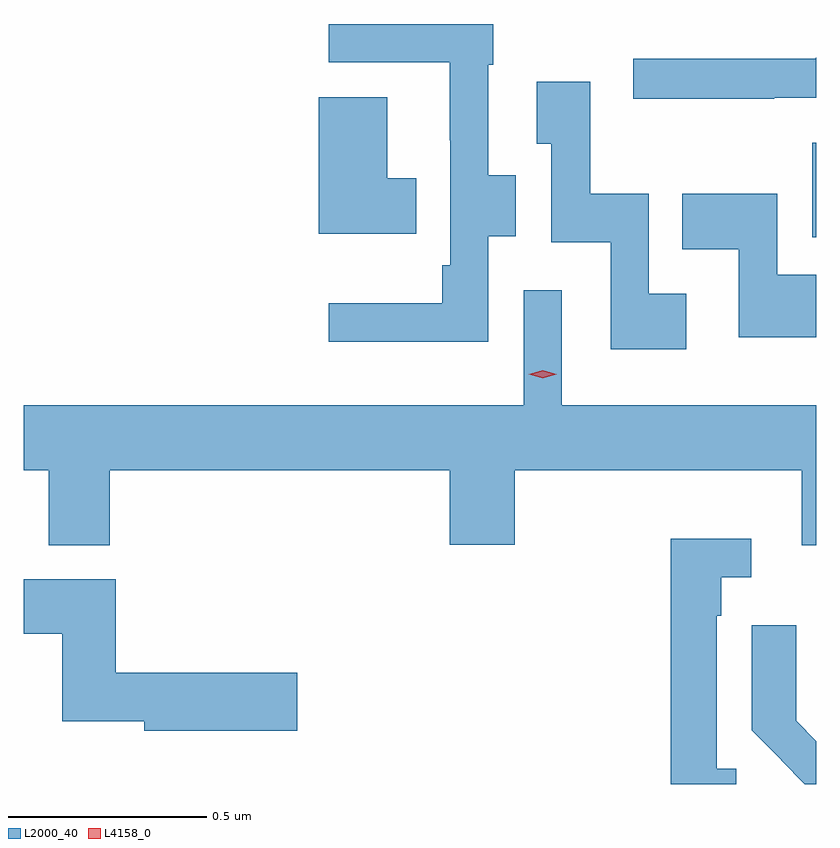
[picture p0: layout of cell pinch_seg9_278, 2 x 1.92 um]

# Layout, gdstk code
import gdstk
lib = gdstk.Library(unit=1e-6, precision=1e-09)
def R(c, l, rs):  # rectangles x0, y0, x1, y1
    for r in rs: c.add(gdstk.rectangle(r[:2], r[2:], *l))
def P(c, l, *ps):  # polygons
    for p in ps: c.add(gdstk.Polygon(p, *l))
L2000_40 = (2000, 40)
L4158_0 = (4158, 0)

pinch_seg9_278 = lib.new_cell('pinch_seg9_278')
R(pinch_seg9_278, L2000_40, [(501.587,1201.004,501.597,1201.243)])
P(pinch_seg9_278, L2000_40, [(500.769,1201.006),(500.839,1201.006),(500.839,1201.161),(500.769,1201.161),(500.769,1201.439),(500.782,1201.439),(500.782,1201.542),(500.367,1201.542),(500.367,1201.446),(500.672,1201.446),(500.672,1201.249),(500.673,1201.249),(500.673,1200.934),(500.653,1200.934),(500.653,1200.838),(500.367,1200.838),(500.367,1200.74),(500.769,1200.74)],
  [(501.491,1201.356),(501.597,1201.356),(501.597,1201.457),(501.595,1201.457),(501.595,1201.454),(501.135,1201.454),(501.135,1201.354),(501.491,1201.354)],
  [(501.268,1200.862),(501.174,1200.862),(501.174,1201.114),(501.027,1201.114),(501.027,1201.396),(500.891,1201.396),(500.891,1201.24),(500.928,1201.24),(500.928,1200.992),(501.078,1200.992),(501.078,1200.722),(501.268,1200.722)],
  [(500.588,1201.153),(500.515,1201.153),(500.515,1201.357),(500.342,1201.357),(500.342,1201.013),(500.588,1201.013)],
  [(501.596,1200.91),(501.498,1200.91),(501.498,1201.114),(501.259,1201.114),(501.259,1200.974),(501.401,1200.974),(501.401,1200.752),(501.596,1200.752)],
  [(499.814,1200.416),(500.672,1200.416),(500.672,1200.228),(500.836,1200.228),(500.836,1200.416),(501.56,1200.416),(501.56,1200.227),(501.597,1200.227),(501.597,1200.58),(500.955,1200.58),(500.955,1200.871),(500.859,1200.871),(500.859,1200.58),(499.597,1200.58),(499.597,1200.416),(499.661,1200.416),(499.661,1200.227),(499.814,1200.227)],
  [(501.395,1199.664),(501.345,1199.664),(501.345,1200.05),(501.357,1200.05),(501.357,1200.147),(501.433,1200.147),(501.433,1200.244),(501.229,1200.244),(501.229,1199.625),(501.395,1199.625)],
  [(500.287,1199.906),(499.829,1199.906),(499.829,1200.142),(499.597,1200.142),(499.597,1200.004),(499.694,1200.004),(499.694,1199.783),(499.902,1199.783),(499.902,1199.759),(500.287,1199.759)],
  [(501.597,1199.733),(501.546,1199.784),(501.546,1200.025),(501.434,1200.025),(501.434,1199.76),(501.508,1199.686),(501.508,1199.685),(501.567,1199.625),(501.597,1199.625)])
P(pinch_seg9_278, L4158_0, [(500.906,1200.648),(500.871,1200.658),(500.871,1200.658),(500.871,1200.659),(500.907,1200.668),(500.942,1200.658),(500.942,1200.658),(500.942,1200.658)])

lib.write_gds('pinch_seg9_278.gds')
